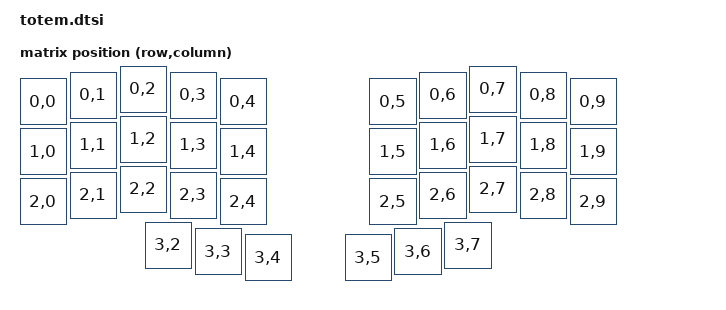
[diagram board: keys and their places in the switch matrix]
#include <dt-bindings/zmk/matrix_transform.h>
#include <physical_layouts.dtsi>

/ {
    chosen {
        zmk,physical-layout = &default_layout;
    };

    // SW16 (outer pinky on the bottom alpha row) is intentionally omitted to
    // match toucan36's 36-key layout; physical keys remain unmapped.
    default_transform: keymap_transform_0 {
        compatible = "zmk,matrix-transform";
        columns = <10>;
        rows = <4>;
        //             | SW01 | SW02 | SW03 | SW04 | SW05 |   | SW05 | SW04 | SW03 | SW02 | SW01 |
        //             | SW06 | SW07 | SW08 | SW09 | SW10 |   | SW10 | SW09 | SW08 | SW07 | SW06 |
        //             | SW11 | SW12 | SW13 | SW14 | SW15 |   | SW15 | SW14 | SW13 | SW12 | SW11 |
        //                           | SW17 | SW18 | SW19 |   | SW19 | SW18 | SW17 |
        map = <
        RC(0,0) RC(0,1) RC(0,2) RC(0,3) RC(0,4)    RC(0,5) RC(0,6) RC(0,7) RC(0,8) RC(0,9)
        RC(1,0) RC(1,1) RC(1,2) RC(1,3) RC(1,4)    RC(1,5) RC(1,6) RC(1,7) RC(1,8) RC(1,9)
        RC(2,0) RC(2,1) RC(2,2) RC(2,3) RC(2,4)    RC(2,5) RC(2,6) RC(2,7) RC(2,8) RC(2,9)
                                RC(3,2) RC(3,3) RC(3,4)    RC(3,5) RC(3,6) RC(3,7)
        >;
    };

    // Approximate column-stagger positions for ZMK Studio. Visual only.
    default_layout: default_layout {
        compatible = "zmk,physical-layout";
        display-name = "Default Layout";
        transform = <&default_transform>;

        keys  //                     w   h    x    y     rot    rx    ry
            = <&key_physical_attrs 100 100  100   25       0     0     0>
            , <&key_physical_attrs 100 100  200   12       0     0     0>
            , <&key_physical_attrs 100 100  300    0       0     0     0>
            , <&key_physical_attrs 100 100  400   12       0     0     0>
            , <&key_physical_attrs 100 100  500   25       0     0     0>
            , <&key_physical_attrs 100 100  800   25       0     0     0>
            , <&key_physical_attrs 100 100  900   12       0     0     0>
            , <&key_physical_attrs 100 100 1000    0       0     0     0>
            , <&key_physical_attrs 100 100 1100   12       0     0     0>
            , <&key_physical_attrs 100 100 1200   25       0     0     0>
            , <&key_physical_attrs 100 100  100  125       0     0     0>
            , <&key_physical_attrs 100 100  200  112       0     0     0>
            , <&key_physical_attrs 100 100  300  100       0     0     0>
            , <&key_physical_attrs 100 100  400  112       0     0     0>
            , <&key_physical_attrs 100 100  500  125       0     0     0>
            , <&key_physical_attrs 100 100  800  125       0     0     0>
            , <&key_physical_attrs 100 100  900  112       0     0     0>
            , <&key_physical_attrs 100 100 1000  100       0     0     0>
            , <&key_physical_attrs 100 100 1100  112       0     0     0>
            , <&key_physical_attrs 100 100 1200  125       0     0     0>
            , <&key_physical_attrs 100 100  100  225       0     0     0>
            , <&key_physical_attrs 100 100  200  212       0     0     0>
            , <&key_physical_attrs 100 100  300  200       0     0     0>
            , <&key_physical_attrs 100 100  400  212       0     0     0>
            , <&key_physical_attrs 100 100  500  225       0     0     0>
            , <&key_physical_attrs 100 100  800  225       0     0     0>
            , <&key_physical_attrs 100 100  900  212       0     0     0>
            , <&key_physical_attrs 100 100 1000  200       0     0     0>
            , <&key_physical_attrs 100 100 1100  212       0     0     0>
            , <&key_physical_attrs 100 100 1200  225       0     0     0>
            , <&key_physical_attrs 100 100  350  312       0     0     0>
            , <&key_physical_attrs 100 100  450  325       0     0     0>
            , <&key_physical_attrs 100 100  550  337       0     0     0>
            , <&key_physical_attrs 100 100  750  337       0     0     0>
            , <&key_physical_attrs 100 100  850  325       0     0     0>
            , <&key_physical_attrs 100 100  950  312       0     0     0>
            ;
    };
};
